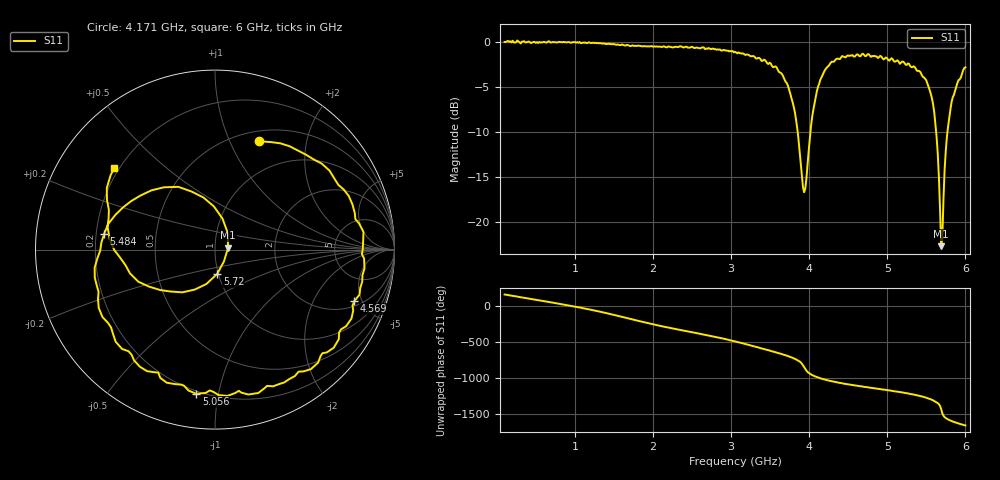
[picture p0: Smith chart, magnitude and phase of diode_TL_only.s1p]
!Agilent Technologies,E8362C,MY49020251,A.08.50.10
!Agilent E8362C: A.08.50.10
!Date: Saturday, May 14, 2016 07:14:23
!Correction: S11(Full 1 Port(1))
!S1P File: Measurement: S11:
# Hz S  dB  R 50
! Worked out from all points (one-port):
!   401 points, 100 MHz to 6 GHz, reference 50 ohm
!   lowest |S11| = -22.7 dB at 5.69 GHz (marker M1), VSWR 1.16, Z = 57.8 + j1.18 ohm
!   |S11| at or under -10 dB: 3.852 GHz to 4.016 GHz (163.6 MHz wide, 4.16 % of centre); 5.625 GHz to 5.77 GHz (145 MHz wide, 2.55 % of centre)
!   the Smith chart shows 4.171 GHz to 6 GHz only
!   S11 on the Smith chart (normalised r, x): 4.171 GHz: 0.62, +1.30; 4.569 GHz: 2.39, -4.34; 5.056 GHz: 0.18, -0.86; 5.484 GHz: 0.23, +0.07; 5.72 GHz: 0.99, -0.27; 6 GHz: 0.18, +0.34
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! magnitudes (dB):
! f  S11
! 100 MHz  0.0
! 837.5 MHz  -0.1
! 1.575 GHz  -0.4
! 2.312 GHz  -0.6
! 3.05 GHz  -1.1
! 3.581 GHz  -2.8
! 3.699 GHz  -4.4
! 3.788 GHz  -6.7
! 3.935 GHz  -16.7
! 3.965 GHz  -15.2
! 4.024 GHz  -9.3
! 4.068 GHz  -6.9
! 4.171 GHz  -3.7
! 4.525 GHz  -1.5
! 4.569 GHz  -1.6
! 5.056 GHz  -1.8
! 5.263 GHz  -2.4
! 5.484 GHz  -4.1
! 5.558 GHz  -5.8
! 5.602 GHz  -7.9
! 5.631 GHz  -10.5
! 5.676 GHz  -18.6
! 5.69 GHz  -22.7
! 5.72 GHz  -17.4
! 5.764 GHz  -10.5
! 5.808 GHz  -7.5
! 5.882 GHz  -5.0
! 6 GHz  -2.8
